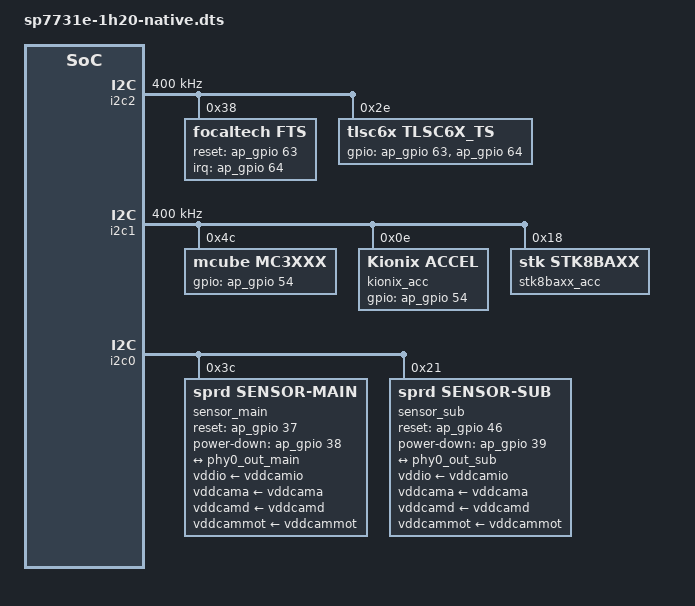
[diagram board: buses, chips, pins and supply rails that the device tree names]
/*****************************************
Do not modify dts file, please modify according dtsi file
******************************************/
#include "../sp7731e-1h20-native.dts"
#include "sprd_base_diff.dtsi"

&i2c2 {
	clock-frequency = <400000>;
	status = "okay";

	/delete-node/ adaptive-touchscreen@38;

	focaltech@38 {
		compatible = "focaltech,fts";
		reg = <0x38>;
		focaltech,reset-gpio = <&ap_gpio 63 0>;
		focaltech,irq-gpio = <&ap_gpio 64 0x2002>;
		focaltech,display-coords = <0 0 479 799>;
		focaltech,max-touch-number = <10>;

		focaltech,have-key;
		focaltech,key-number = <3>;
		focaltech,keys = <158 172 580>;
		focaltech,key-y-coord = <900>;
		focaltech,key-x-coords = <80 400 240>;
		focaltech,comb-key-x-coords = <800 158 580>;
	};
	tlsc6x_ts@2e {
		compatible = "tlsc6x,tlsc6x_ts";
		reg = <0x2e>;
		gpios = <&ap_gpio 63 0
			&ap_gpio 64 0>;
		vdd_name = "vdd28";
		virtualkeys = <400 900 30 30
				240 900 30 30
				80 900 30 30>;
		TP_MAX_X = <479>;
		TP_MAX_Y = <799>;
	};
};

&i2c1{
	clock-frequency = <400000>;
	status = "okay";

	mc3xxx@4c{
		compatible = "mcube,mc3xxx";
		reg = <0x4c>;
		gpios = <&ap_gpio 54 0>;
		poll_interval = <10>;
		min_interval = <1>;
		g_range = <0>;
		axis_maps_x = <0>;
		axis_maps_y = <1>;
		axis_maps_z = <2>;
		negate_x = <1>;
		negate_y = <1>;
		negate_z = <0>;
	};

	kionix_acc@0E{
		compatible = "Kionix,accel";
		reg = <0x0E>;
		poll_interval = <10>;
		min_interval = <10>;
		g_range = <0>;
		accel_res = <0>;
		accel_irq_use_drdy = <1>;
		accel_direction = <3>;
		gpios = <&ap_gpio 54 0>;
	};

	stk8baxx_acc@18{
		compatible = "stk,stk8baxx";
		reg = <0x18>;
		stk,direction = <1>;
	};
};

/*****************************************
cam setting
******************************************/
&i2c0 {
	/delete-node/ sensor-main@3c;
	/delete-node/ sensor-sub@21;
};

&i2c0 {
	sensor_main: sensor-main@3c {
		compatible = "sprd,sensor-main";
		reg = <0x3c>;
		clock-names = "clk_src", "sensor_eb",
			"clk_96m", "clk_76m8",
			"clk_48m", "clk_26m";
		clocks  = <&clk_sensor0>,
			<&clk_mm_ckg_gates 1>,
			<&clk_twpll_96m>,
			<&clk_twpll_76m8>,
			<&clk_twpll_48m>,
			<&ext_26m>;
		vddio-supply = <&vddcamio>;
		vddcama-supply = <&vddcama>;
		vddcamd-supply = <&vddcamd>;
		vddcammot-supply = <&vddcammot>;
		reset-gpios = <&ap_gpio 37 0>;
		power-down-gpios = <&ap_gpio 38 0>;
		host = "dcam0";
		port {
			sensor_main_0: endpoint {
				remote-endpoint = <&phy0_out_main>;
			};
		};
	};

	sensor_sub: sensor-sub@21 {
		compatible = "sprd,sensor-sub";
		reg = <0x21>;
		clock-names = "clk_src","sensor_eb",
			"clk_96m", "clk_76m8",
			"clk_48m", "clk_26m";
		clocks = <&clk_sensor0>,
			<&clk_mm_ckg_gates 1>,
			<&clk_twpll_96m>,
			<&clk_twpll_76m8>,
			<&clk_twpll_48m>,
			<&ext_26m>;
		vddio-supply = <&vddcamio>;
		vddcama-supply = <&vddcama>;
		vddcamd-supply = <&vddcamd>;
		vddcammot-supply = <&vddcammot>;
		reset-gpios = <&ap_gpio 46 0>;
		power-down-gpios = <&ap_gpio 39 0>;
		host = "dcam0";
		port {
			sensor_sub_0: endpoint {
				remote-endpoint = <&phy0_out_sub>;
			};
		};
	};
};

&pmic_flash{
	compatible = "sprd,sc2720-flash";
	reg=<0x1f4>;
};

/ {
	zte_misc: zte_misc {
		status = "okay";
		compatible = "zte-misc";
	};

	charger_policy_service {
		compatible = "zte,charger-policy-service";
		status="okay";
		policy,enable = <1>;
		policy,expired-mode-enable = <1>;
		policy,retry-times = <10>;
		policy,timeout-seconds = <64800>;/* 18 hours */
		policy,max-capacity = <70>;
		policy,min-capacity = <50>;
		policy,bms-phy-name = "battery";
		policy,battery-phy-name = "battery";
	};
};

&battery {
	io-channels = <&pmic_adc 0>,<&pmic_adc 4>,<&pmic_adc 5>,
			<&pmic_adc 14>;
	io-channel-names = "adc_batt_id","adc_temp","adc_vbat",
			"adc_vchg";
	temp-support = <1>;
	adp-cdp-cur = <550>;
	adp-dcp-cur = <550>;
	adp-sdp-cur = <500>;
	chg-end-vol = <4350>;
	chg-end-vol-check = <4330>;
	chg-bat-safety-vol = <4430>;
	rechg-vol = <4270>;
	chg-polling-time = <15>;
	rsense-real = <100>;
	bat-id-list = <270 390 0>; /* weike:270K tianmao:390K weike2: 0K*/
	rint = <389>;
	cnom = <1664>;
	ocv-tab-vol = <4311 4248 4193 4141 4091 4052 3988
			3962 3924 3869 3840 3819 3802 3788
			3776 3762 3745 3721 3692 3679 3400>;
	rint-1 = <389>;
	cnom-1 = <1400>;
	ocv-tab-vol-1 =  <4311 4248 4193 4141 4091 4052 3988
			3962 3924 3869 3840 3819 3802 3788
			3776 3762 3745 3721 3692 3679 3400>;
	rint-2 = <293>;
	cnom-2 = <1452>;
	ocv-tab-vol-2 =  <4309 4230 4169 4112 4065 4012 3972
			3933 3894 3849 3814 3792 3778 3774
			3771 3764 3738 3665 3577 3518 3400>;
	ocv-tab-cap = <100  95   90   85   80   75   70
			65   60   55   50   45   40   35
			30   25   20   15   10   5    0>;
	/*30mohm,if temp-table-mode = <1>, use it*/
	temp-comp-res = <30>;
	temp-tab-val = <1124 1104 1079 1047 1010 967
			917 861 801 738 672 607
			543 482 425 372 325 282 243>;
	/* temperature + 1000,750 = 1000 + (-250)*/
	temp-tab-temp = <750 800 850 900 950 1000
			1050 1100 1150 1200 1250 1300
			1350 1400 1450 1500 1550 1600 1650>;
	jeita-temp-tab = <1000 1050 1100 1450 1550>;
	jeita-temp-recovery-tab = <1030 1080 1130 1420 1520>;
	jeita-cur-tab = <0 420 420 0x7fff 500 0>;
	jeita-cccv-tab = <4350 4350 4350 4350 4100 4100>;
	batt_full_design_capacity = <1400>;
};
